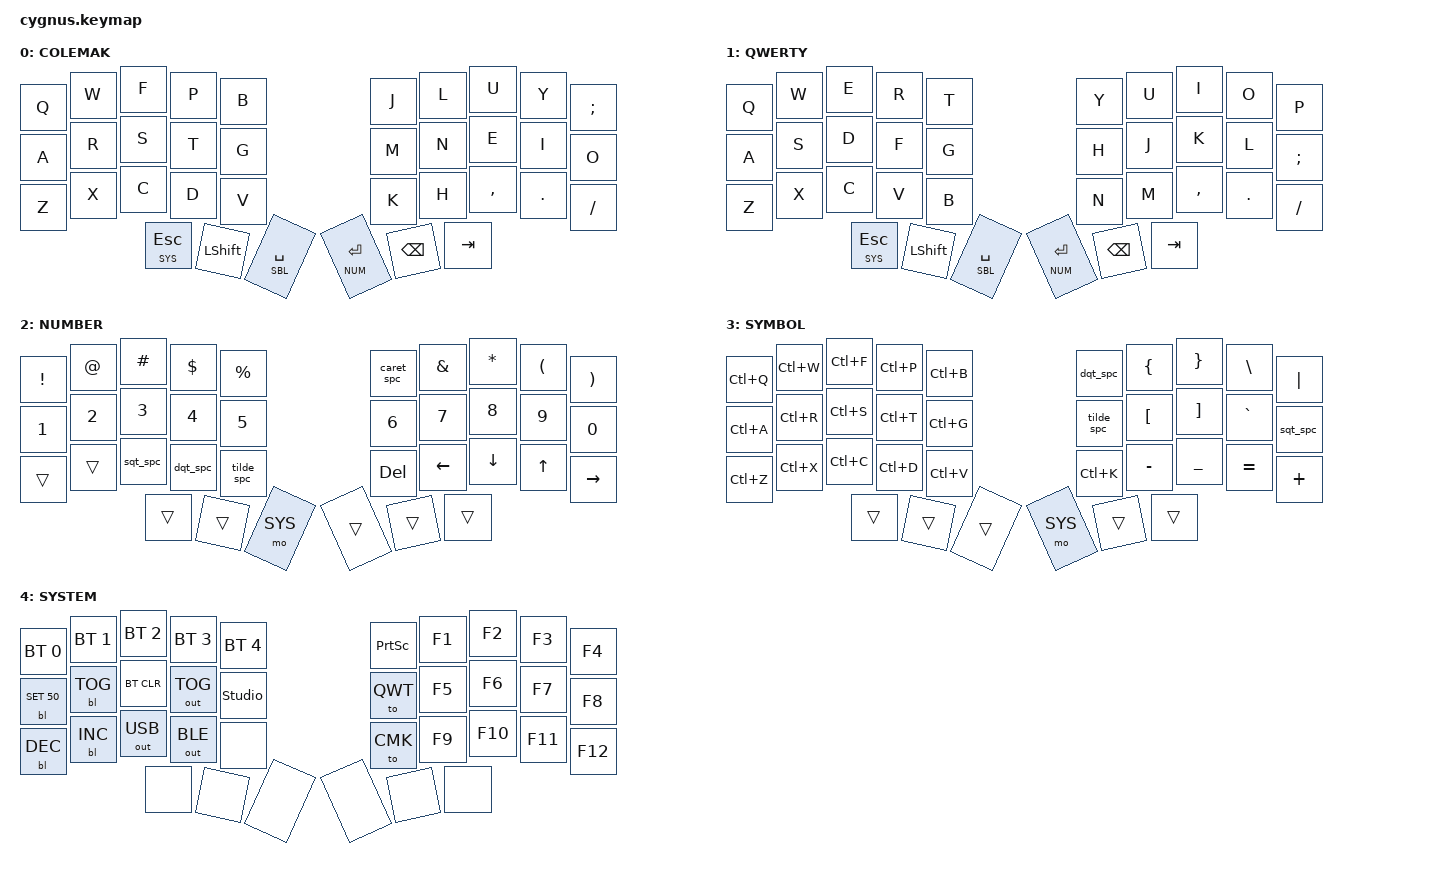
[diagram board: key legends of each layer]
/*
 * Copyright (c) 2020 duckyb
 *
 * SPDX-License-Identifier: MIT
 */

#include <behaviors.dtsi>
#include <dt-bindings/zmk/keys.h>
#include <dt-bindings/zmk/bt.h>
#include <dt-bindings/zmk/outputs.h>
#include <dt-bindings/zmk/backlight.h>

#define CMK 0
#define QWT 1
#define NUM 2
#define SBL 3
#define SYS 4

#define COMBO_TIME_OUT 25

/ {
    behaviors {
        tab_esc_ctrl: tab_esc_ctrl {
            compatible = "zmk,behavior-tap-dance";
            label = "TAB_ESC_CTRL";
            #binding-cells = <0>;
            bindings =
                <&mt LCTRL ESC>,
                <&kp TAB>;
        };
        gqt: global-quick-tap {
            compatible = "zmk,behavior-hold-tap";
            label = "GLOBAL_QUICK_TAP";
            bindings =
                <&kp>,
                <&kp>;

            #binding-cells = <2>;
            quick-tap-ms = <180>;
            tapping-term-ms = <200>;
            global-quick-tap;
        };
        ltq: ltq {
            compatible = "zmk,behavior-hold-tap";
            label = "LTQ";
            bindings =
                <&mo>,
                <&kp>;

            #binding-cells = <2>;
            global-quick-tap;
            tapping-term-ms = <200>;
            quick-tap-ms = <180>;
        };
    };

    combos {
        compatible = "zmk,combos";

        combo_left_ctrl {
            bindings = <&kp LCTRL>;
            key-positions = <12 13>;
            timeout-ms = <COMBO_TIME_OUT>;
        };

        combo_left_alt {
            bindings = <&kp LALT>;
            key-positions = <11 13>;
            timeout-ms = <COMBO_TIME_OUT>;
        };

        combo_left_gui {
            bindings = <&kp LGUI>;
            key-positions = <11 12>;
            timeout-ms = <COMBO_TIME_OUT>;
        };

        combo_right_ctrl {
            bindings = <&kp LCTRL>;
            key-positions = <16 17>;
            timeout-ms = <COMBO_TIME_OUT>;
        };

        combo_right_alt {
            bindings = <&kp LALT>;
            key-positions = <16 18>;
            timeout-ms = <COMBO_TIME_OUT>;
        };

        combo_right_gui {
            bindings = <&kp LGUI>;
            key-positions = <17 18>;
            timeout-ms = <COMBO_TIME_OUT>;
        };

        combo_left_ctrl_alt {
            bindings = <&kp LC(LALT)>;
            key-positions = <11 12 13>;
            timeout-ms = <COMBO_TIME_OUT>;
            slow-release;
        };

        combo_right_ctrl_alt {
            bindings = <&kp LC(LALT)>;
            key-positions = <16 17 18>;
            timeout-ms = <COMBO_TIME_OUT>;
            slow-release;
        };

        combo_left_quote {
            bindings = <&kp SQT>;
            key-positions = <2 3>;
            timeout-ms = <COMBO_TIME_OUT>;
        };

        combo_left_tilde {
            bindings = <&kp TILDE>;
            key-positions = <1 2>;
            timeout-ms = <COMBO_TIME_OUT>;
        };

        combo_left_circumflex {
            bindings = <&kp CARET>;
            key-positions = <1 3>;
            timeout-ms = <COMBO_TIME_OUT>;
        };

        combo_right_quote {
            bindings = <&kp SQT>;
            key-positions = <6 7>;
            timeout-ms = <COMBO_TIME_OUT>;
        };

        combo_right_tilde {
            bindings = <&kp TILDE>;
            key-positions = <7 8>;
            timeout-ms = <COMBO_TIME_OUT>;
        };

        combo_right_circumflex {
            bindings = <&kp CARET>;
            key-positions = <6 8>;
            timeout-ms = <COMBO_TIME_OUT>;
        };
    };

    macros {
        caret_spc: caret_spc {
            compatible = "zmk,behavior-macro";
            #binding-cells = <0>;
            bindings = <&macro_tap &kp CARET &kp SPACE>;
        };

        dqt_spc: dqt_spc {
            compatible = "zmk,behavior-macro";
            #binding-cells = <0>;
            bindings = <&macro_tap &kp DQT &kp SPACE>;
        };

        tilde_spc: tilde_spc {
            compatible = "zmk,behavior-macro";
            #binding-cells = <0>;
            bindings = <&macro_tap &kp TILDE &kp SPACE>;
        };

        sqt_spc: sqt_spc {
            compatible = "zmk,behavior-macro";
            #binding-cells = <0>;
            bindings = <&macro_tap &kp SQT &kp SPACE>;
        };
    };

    keymap {
        compatible = "zmk,keymap";

        /* Colemak-DHm
        ┏━━━━━━━━━┳━━━━━━━━━┳━━━━━━━━━┳━━━━━━━━━┳━━━━━━━━━┓          ┏━━━━━━━━━┳━━━━━━━━━┳━━━━━━━━━┳━━━━━━━━━┳━━━━━━━━━┓
        ┃    Q    ┃    W    ┃    F    ┃    P    ┃    B    ┃          ┃    J    ┃    L    ┃    U    ┃    Y    ┃    ;    ┃
        ┣━━━━━━━━━╋━━━━━━━━━╋━━━━━━━━━╋━━━━━━━━━╋━━━━━━━━━┫          ┣━━━━━━━━━╋━━━━━━━━━╋━━━━━━━━━╋━━━━━━━━━╋━━━━━━━━━┫
        ┃    A    ┃    R    ┃    S    ┃    T    ┃    G    ┃          ┃    M    ┃    N    ┃    E    ┃    I    ┃    O    ┃
        ┣━━━━━━━━━╋━━━━━━━━━╋━━━━━━━━━╋━━━━━━━━━╋━━━━━━━━━┫          ┣━━━━━━━━━╋━━━━━━━━━╋━━━━━━━━━╋━━━━━━━━━╋━━━━━━━━━┫
        ┃    Z    ┃    X    ┃    C    ┃    D    ┃    V    ┃          ┃    K    ┃    H    ┃    ,    ┃    .    ┃    /    ┃
        ┗━━━━━━━━━┻━━━━━━━━━╋━━━━━━━━━╋━━━━━━━━━╋━━━━━━━━━┫          ┣━━━━━━━━━╋━━━━━━━━━╋━━━━━━━━━╋━━━━━━━━━┻━━━━━━━━━┛
                            ┃  ESC    ┃  Shift  ┃LT2/SPACE┃          ┃LT1/ENTER┃   BSCP  ┃   TAB   ┃
                            ┗━━━━━━━━━┻━━━━━━━━━┻━━━━━━━━━┛          ┗━━━━━━━━━┻━━━━━━━━━┻━━━━━━━━━┛
        */

        clmk {
            label = "COLEMAK";
            bindings = <
&kp Q        &kp W         &kp F         &kp P          &kp B               &kp J             &kp L         &kp U        &kp Y        &kp SEMI
&kp A        &kp R         &kp S         &kp T          &kp G               &kp M             &kp N         &kp E        &kp I           &kp O
&kp Z        &kp X         &kp C         &kp D          &kp V               &kp K             &kp H     &kp COMMA      &kp DOT        &kp FSLH
                     &lt SYS ESC    &kp LSHIFT  &lt SBL SPACE       &lt NUM ENTER          &kp BSPC       &kp TAB
            >;
        };

        /* Qwerty
        ┏━━━━━━━━━┳━━━━━━━━━┳━━━━━━━━━┳━━━━━━━━━┳━━━━━━━━━┓          ┏━━━━━━━━━┳━━━━━━━━━┳━━━━━━━━━┳━━━━━━━━━┳━━━━━━━━━┓
        ┃    Q    ┃    W    ┃    E    ┃    R    ┃    T    ┃          ┃    Y    ┃    U    ┃    I    ┃    O    ┃    P    ┃
        ┣━━━━━━━━━╋━━━━━━━━━╋━━━━━━━━━╋━━━━━━━━━╋━━━━━━━━━┫          ┣━━━━━━━━━╋━━━━━━━━━╋━━━━━━━━━╋━━━━━━━━━╋━━━━━━━━━┫
        ┃    A    ┃    S    ┃    D    ┃    F    ┃    G    ┃          ┃    H    ┃    J    ┃    K    ┃    L    ┃    ;    ┃
        ┣━━━━━━━━━╋━━━━━━━━━╋━━━━━━━━━╋━━━━━━━━━╋━━━━━━━━━┫          ┣━━━━━━━━━╋━━━━━━━━━╋━━━━━━━━━╋━━━━━━━━━╋━━━━━━━━━┫
        ┃    Z    ┃    X    ┃    C    ┃    V    ┃    B    ┃          ┃    N    ┃    M    ┃    ,    ┃    .    ┃    /    ┃
        ┗━━━━━━━━━┻━━━━━━━━━╋━━━━━━━━━╋━━━━━━━━━╋━━━━━━━━━┫          ┣━━━━━━━━━╋━━━━━━━━━╋━━━━━━━━━╋━━━━━━━━━┻━━━━━━━━━┛
                            ┃  ESC    ┃  Shift  ┃LT2/SPACE┃          ┃LT1/ENTER┃   BSCP  ┃   TAB   ┃
                            ┗━━━━━━━━━┻━━━━━━━━━┻━━━━━━━━━┛          ┗━━━━━━━━━┻━━━━━━━━━┻━━━━━━━━━┛
        */

        qwrt {
            label = "QWERTY";
            bindings = <
&kp Q        &kp W         &kp E         &kp R          &kp T               &kp Y             &kp U         &kp I        &kp O           &kp P
&kp A        &kp S         &kp D         &kp F          &kp G               &kp H             &kp J         &kp K        &kp L        &kp SEMI
&kp Z        &kp X         &kp C         &kp V          &kp B               &kp N             &kp M     &kp COMMA      &kp DOT        &kp FSLH
                     &lt SYS ESC    &kp LSHIFT  &lt SBL SPACE       &lt NUM ENTER          &kp BSPC       &kp TAB
            >;
        };

        /* Numbers
        ┏━━━━━━━━━┳━━━━━━━━━┳━━━━━━━━━┳━━━━━━━━━┳━━━━━━━━━┓          ┏━━━━━━━━━┳━━━━━━━━━┳━━━━━━━━━┳━━━━━━━━━┳━━━━━━━━━┓
        ┃    !    ┃    @    ┃    #    ┃    $    ┃    %    ┃          ┃    ^    ┃    &    ┃    *    ┃    (    ┃    )    ┃
        ┣━━━━━━━━━╋━━━━━━━━━╋━━━━━━━━━╋━━━━━━━━━╋━━━━━━━━━┫          ┣━━━━━━━━━╋━━━━━━━━━╋━━━━━━━━━╋━━━━━━━━━╋━━━━━━━━━┫
        ┃    1    ┃    2    ┃    3    ┃    4    ┃    5    ┃          ┃    6    ┃    7    ┃    8    ┃    9    ┃    0    ┃
        ┣━━━━━━━━━╋━━━━━━━━━╋━━━━━━━━━╋━━━━━━━━━╋━━━━━━━━━┫          ┣━━━━━━━━━╋━━━━━━━━━╋━━━━━━━━━╋━━━━━━━━━╋━━━━━━━━━┫
        ┃         ┃         ┃    '    ┃    "    ┃    ~    ┃          ┃   DEL   ┃    ←    ┃    ↓    ┃    ↑	 ┃    →    ┃
        ┗━━━━━━━━━┻━━━━━━━━━╋━━━━━━━━━╋━━━━━━━━━╋━━━━━━━━━┫          ┣━━━━━━━━━╋━━━━━━━━━╋━━━━━━━━━╋━━━━━━━━━┻━━━━━━━━━┛
                            ┃         ┃         ┃  MO(3)  ┃          ┃         ┃         ┃         ┃
                            ┗━━━━━━━━━┻━━━━━━━━━┻━━━━━━━━━┛          ┗━━━━━━━━━┻━━━━━━━━━┻━━━━━━━━━┛
        */

        number {
            label = "NUMBER";
            bindings = <
&kp EXCL     &kp AT_SIGN     &kp HASH      &kp DLLR       &kp PRCNT          &caret_spc        &kp AMPS      &kp STAR       &kp LPAR       &kp RPAR
  &kp N1          &kp N2       &kp N3        &kp N4          &kp N5              &kp N6          &kp N7        &kp N8         &kp N9         &kp N0
  &trans          &trans     &sqt_spc      &dqt_spc      &tilde_spc             &kp DEL        &kp LEFT      &kp DOWN         &kp UP      &kp RIGHT
                               &trans        &trans         &mo SYS              &trans          &trans        &trans
            >;
        };

        /* Symbol
        ┏━━━━━━━━━┳━━━━━━━━━┳━━━━━━━━━┳━━━━━━━━━┳━━━━━━━━━┓          ┏━━━━━━━━━┳━━━━━━━━━┳━━━━━━━━━┳━━━━━━━━━┳━━━━━━━━━┓
        ┃    Q    ┃    W    ┃    F    ┃    P    ┃    B    ┃          ┃    "    ┃    {    ┃    }    ┃    \    ┃    |    ┃
        ┣━━━━━━━━━╋━━━━━━━━━╋━━━━━━━━━╋━━━━━━━━━╋━━━━━━━━━┫          ┣━━━━━━━━━╋━━━━━━━━━╋━━━━━━━━━╋━━━━━━━━━╋━━━━━━━━━┫
        ┃    A    ┃    R    ┃    S    ┃    T    ┃    G    ┃          ┃    ~    ┃    [    ┃    ]    ┃    `    ┃    '    ┃
        ┣━━━━━━━━━╋━━━━━━━━━╋━━━━━━━━━╋━━━━━━━━━╋━━━━━━━━━┫          ┣━━━━━━━━━╋━━━━━━━━━╋━━━━━━━━━╋━━━━━━━━━╋━━━━━━━━━┫
        ┃    Z    ┃    X    ┃    C    ┃    D    ┃    V    ┃          ┃    K    ┃    -    ┃    _    ┃    =    ┃    +    ┃
        ┗━━━━━━━━━┻━━━━━━━━━╋━━━━━━━━━╋━━━━━━━━━╋━━━━━━━━━┫          ┣━━━━━━━━━╋━━━━━━━━━╋━━━━━━━━━╋━━━━━━━━━┻━━━━━━━━━┛
                            ┃         ┃         ┃         ┃          ┃  MO(3)  ┃         ┃         ┃
                            ┗━━━━━━━━━┻━━━━━━━━━┻━━━━━━━━━┛          ┗━━━━━━━━━┻━━━━━━━━━┻━━━━━━━━━┛
        */

        symbol {
            label = "SYMBOL";
            bindings = <
&kp LC(Q)      &kp LC(W)       &kp LC(F)       &kp LC(P)        &kp LC(B)              &dqt_spc         &kp LBRC         &kp RBRC       &kp BSLH       &kp PIPE
&kp LC(A)      &kp LC(R)       &kp LC(S)       &kp LC(T)        &kp LC(G)            &tilde_spc         &kp LBKT         &kp RBKT       &kp GRAVE      &sqt_spc
&kp LC(Z)      &kp LC(X)       &kp LC(C)       &kp LC(D)        &kp LC(V)             &kp LC(K)        &kp MINUS        &kp UNDER       &kp EQUAL      &kp PLUS
                                  &trans          &trans           &trans               &mo SYS           &trans           &trans
            >;
        };

        /* System
        ┏━━━━━━━━━┳━━━━━━━━━┳━━━━━━━━━┳━━━━━━━━━┳━━━━━━━━━┓          ┏━━━━━━━━━┳━━━━━━━━━┳━━━━━━━━━┳━━━━━━━━━┳━━━━━━━━━┓
        ┃  BT 1   ┃  BT 2   ┃  BT 3   ┃  BT 4   ┃  BT 5   ┃          ┃  PSCRN  ┃   F1    ┃   F2    ┃   F3    ┃   F4    ┃
        ┣━━━━━━━━━╋━━━━━━━━━╋━━━━━━━━━╋━━━━━━━━━╋━━━━━━━━━┫          ┣━━━━━━━━━╋━━━━━━━━━╋━━━━━━━━━╋━━━━━━━━━╋━━━━━━━━━┫
        ┃         ┃         ┃  BT_CLR ┃ OUT_TOG ┃ STUDIO  ┃          ┃  QWRT   ┃   F5    ┃   F6    ┃   F7    ┃   F8    ┃
        ┣━━━━━━━━━╋━━━━━━━━━╋━━━━━━━━━╋━━━━━━━━━╋━━━━━━━━━┫          ┣━━━━━━━━━╋━━━━━━━━━╋━━━━━━━━━╋━━━━━━━━━╋━━━━━━━━━┫
        ┃         ┃         ┃ OUT_USB ┃ OUT_BLE ┃         ┃          ┃  CLMK   ┃   F9    ┃   F10   ┃   F11   ┃   F12   ┃
        ┗━━━━━━━━━┻━━━━━━━━━╋━━━━━━━━━╋━━━━━━━━━╋━━━━━━━━━┫          ┣━━━━━━━━━╋━━━━━━━━━╋━━━━━━━━━╋━━━━━━━━━┻━━━━━━━━━┛
                            ┃         ┃         ┃         ┃          ┃         ┃         ┃         ┃
                            ┗━━━━━━━━━┻━━━━━━━━━┻━━━━━━━━━┛          ┗━━━━━━━━━┻━━━━━━━━━┻━━━━━━━━━┛
        */


        system {
            label = "SYSTEM";
            bindings = <
 &bt BT_SEL 0  &bt BT_SEL 1  &bt BT_SEL 2  &bt BT_SEL 3   &bt BT_SEL 4          &kp PSCRN  &kp F1   &kp F2   &kp F3   &kp F4
&bl BL_SET 50    &bl BL_TOG    &bt BT_CLR  &out OUT_TOG &studio_unlock            &to QWT  &kp F5   &kp F6   &kp F7   &kp F8
   &bl BL_DEC    &bl BL_INC  &out OUT_USB  &out OUT_BLE          &none            &to CMK  &kp F9  &kp F10  &kp F11  &kp F12
                                    &none          &none         &none              &none   &none    &none
            >;
        };
    };
};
